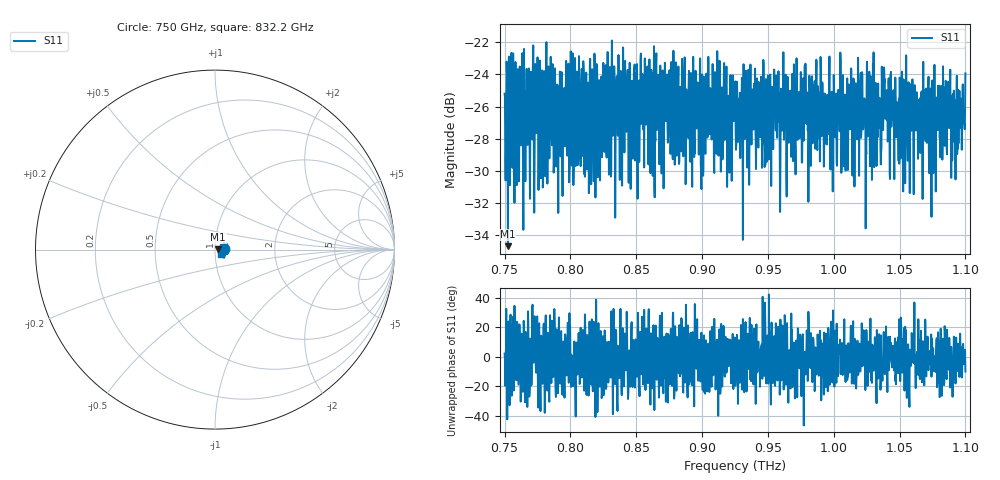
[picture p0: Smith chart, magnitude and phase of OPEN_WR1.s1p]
! Fixture THz termine par un OPEN ideal : ligne Zc=55 ohm, delai=300 ps, pertes 2.0 dB @10 GHz (~sqrt(f)), eps_r_eff=3.0 -> 51.93 mm, Z0=50 ohm ; 750.000 - 1100 GHz, pas 250 MHz, 1401 points, bruit -40 dB
! Frequency(Hz) Re(S11) Im(S11)
# Hz S RI R 50
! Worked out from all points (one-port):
!   1401 points, 750 GHz to 1.1 THz, reference 50 ohm
!   lowest |S11| = -34.7 dB at 752.5 GHz (marker M1), VSWR 1.04, Z = 51.9 + j0.226 ohm
!   |S11| at or under -10 dB: start of sweep to end of sweep
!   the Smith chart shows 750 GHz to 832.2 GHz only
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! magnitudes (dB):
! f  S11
! 750 GHz  -25.2
! 752.5 GHz  -34.7
! 755 GHz  -23.0
! 765.8 GHz  -30.6
! 770 GHz  -24.9
! 779.2 GHz  -30.6
! 785 GHz  -22.9
! 789 GHz  -27.3
! 793.8 GHz  -29.4
! 837.5 GHz  -30.6
! 881.2 GHz  -27.4
! 892.5 GHz  -31.0
! 896.8 GHz  -24.6
! 900.8 GHz  -30.3
! 903 GHz  -24.5
! 911.8 GHz  -23.8
! 920.8 GHz  -30.1
! 925 GHz  -26.1
! 968.8 GHz  -26.0
! 1.012 THz  -27.4
! 1.02 THz  -24.4
! 1.034 THz  -27.3
! 1.038 THz  -23.6
! 1.056 THz  -29.4
! 1.074 THz  -28.6
! 1.087 THz  -24.8
! 1.093 THz  -30.5
! 1.1 THz  -23.9
